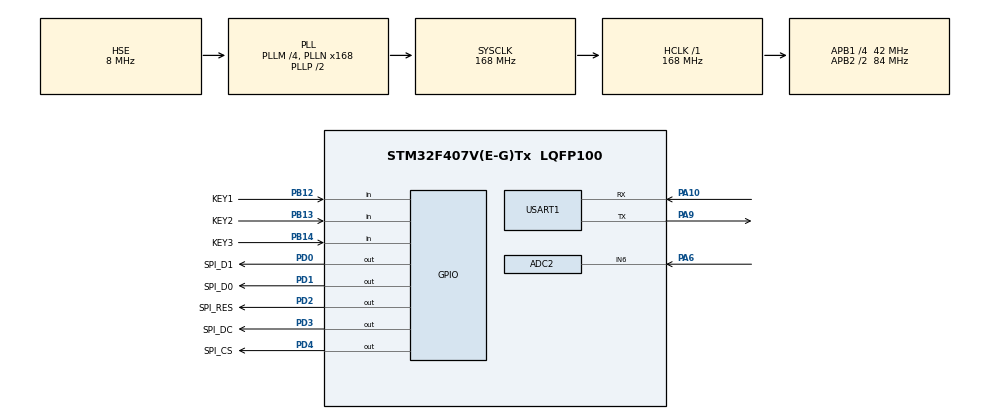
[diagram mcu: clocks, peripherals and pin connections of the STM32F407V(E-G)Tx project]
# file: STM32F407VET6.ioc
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ADC2.Channel-0\#ChannelRegularConversion=ADC_CHANNEL_6
ADC2.ContinuousConvMode=ENABLE
ADC2.DMAContinuousRequests=ENABLE
ADC2.NbrOfConversionFlag=1
ADC2.Rank-0\#ChannelRegularConversion=1
ADC2.SamplingTime-0\#ChannelRegularConversion=ADC_SAMPLETIME_3CYCLES
ADC2.ScanConvMode=ENABLE
Dma.ADC2.0.Direction=DMA_PERIPH_TO_MEMORY
Dma.ADC2.0.FIFOMode=DMA_FIFOMODE_DISABLE
Dma.ADC2.0.Instance=DMA2_Stream2
Dma.ADC2.0.MemDataAlignment=DMA_MDATAALIGN_WORD
Dma.ADC2.0.MemInc=DMA_MINC_ENABLE
Dma.ADC2.0.Mode=DMA_CIRCULAR
Dma.ADC2.0.PeriphDataAlignment=DMA_PDATAALIGN_WORD
Dma.ADC2.0.PeriphInc=DMA_PINC_DISABLE
Dma.ADC2.0.Priority=DMA_PRIORITY_LOW
Dma.Request0=ADC2
Mcu.Family=STM32F4
Mcu.Name=STM32F407V(E-G)Tx
Mcu.Package=LQFP100
NVIC.DMA2_Stream2_IRQn=true\:0\:0\:false\:false\:true\:false\:true
NVIC.PriorityGroup=NVIC_PRIORITYGROUP_4
PA10.Mode=Asynchronous
PA10.Signal=USART1_RX
PA13.Mode=Serial_Wire
PA13.Signal=SYS_JTMS-SWDIO
PA14.Mode=Serial_Wire
PA14.Signal=SYS_JTCK-SWCLK
PA6.Signal=ADCx_IN6
PA9.Mode=Asynchronous
PA9.Signal=USART1_TX
PB12.GPIO_Label=KEY1
PB12.GPIO_Mode=GPIO_MODE_INPUT
PB12.GPIO_PuPd=GPIO_PULLUP
PB12.Signal=GPIO_Input
PB13.GPIO_Label=KEY2
PB13.GPIO_PuPd=GPIO_PULLUP
PB13.Signal=GPIO_Input
PB14.GPIO_Label=KEY3
PB14.GPIO_PuPd=GPIO_PULLUP
PB14.Signal=GPIO_Input
PD0.GPIO_Label=SPI_D1
PD0.Signal=GPIO_Output
PD1.GPIO_Label=SPI_D0
PD1.Signal=GPIO_Output
PD2.GPIO_Label=SPI_RES
PD2.Signal=GPIO_Output
PD3.GPIO_Label=SPI_DC
PD3.Signal=GPIO_Output
PD4.GPIO_Label=SPI_CS
PD4.Signal=GPIO_Output
PH0-OSC_IN.Mode=HSE-External-Oscillator
PH0-OSC_IN.Signal=RCC_OSC_IN
PH1-OSC_OUT.Mode=HSE-External-Oscillator
PH1-OSC_OUT.Signal=RCC_OSC_OUT
ProjectManager.HeapSize=0x200
ProjectManager.StackSize=0x400
ProjectManager.TargetToolchain=MDK-ARM V5.27
RCC.48MHZClocksFreq_Value=84000000
RCC.AHBFreq_Value=168000000
RCC.APB1CLKDivider=RCC_HCLK_DIV4
RCC.APB1Freq_Value=42000000
RCC.APB1TimFreq_Value=84000000
RCC.APB2CLKDivider=RCC_HCLK_DIV2
RCC.APB2Freq_Value=84000000
RCC.APB2TimFreq_Value=168000000
RCC.CortexFreq_Value=168000000
RCC.HCLKFreq_Value=168000000
RCC.HSE_VALUE=8000000
RCC.HSI_VALUE=16000000
RCC.LSE_VALUE=32768
RCC.PLLM=4
RCC.PLLN=168
RCC.PLLSourceVirtual=RCC_PLLSOURCE_HSE
RCC.SYSCLKFreq_VALUE=168000000
RCC.SYSCLKSource=RCC_SYSCLKSOURCE_PLLCLK
RCC.VCOOutputFreq_Value=336000000
SH.ADCx_IN6.0=ADC2_IN6,IN6
USART1.VirtualMode=VM_ASYNC
board=custom

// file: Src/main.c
/* USER CODE BEGIN Header */
/**
  ******************************************************************************
  * @file           : main.c
  * @brief          : Main program body
  ******************************************************************************
  * @attention
  *
  * <h2><center>&copy; Copyright (c) 2020 STMicroelectronics.
  * All rights reserved.</center></h2>
  *
  * This software component is licensed by ST under BSD 3-Clause license,
  * the "License"; You may not use this file except in compliance with the
  * License. You may obtain a copy of the License at:
  *                        opensource.org/licenses/BSD-3-Clause
  *
  ******************************************************************************
  */
/* USER CODE END Header */

#include "main.h"
#include "adc.h"
#include "dma.h"
#include "usart.h"
#include "gpio.h"

/* USER CODE BEGIN Includes */
#include "stdio.h"
#include "oled.h"
/* USER CODE END Includes */

/* USER CODE BEGIN PV */
uint32_t ADC_Value[100];
uint8_t i;
uint32_t ad1;

/* USER CODE END PV */

void SystemClock_Config(void);

int main(void)
{

  /* MCU Configuration--------------------------------------------------------*/

  /* Reset of all peripherals, Initializes the Flash interface and the Systick. */
  HAL_Init();

  /* Configure the system clock */
  SystemClock_Config();

  /* Initialize all configured peripherals */
  MX_GPIO_Init();
  MX_DMA_Init();
  MX_ADC2_Init();
  MX_USART1_UART_Init();
  /* USER CODE BEGIN 2 */
	HAL_ADC_Start_DMA(&hadc2, (uint32_t*)&ADC_Value, 100);

	OLED_Init();
	OLED_Display_On();
	uint8_t tishi_buffer[20];
	uint8_t ADC_buffer[20];
  /* USER CODE END 2 */

  /* Infinite loop */
  while (1)
  {

    /* USER CODE BEGIN 3 */
		HAL_Delay(500);
		for(i=0,ad1=0;i<100;i++)
		{
			ad1+=ADC_Value[i++];
		}
		ad1/=100;
		sprintf(tishi_buffer,"ADC result:");
		OLED_ShowString(4,0, tishi_buffer);
		sprintf(ADC_buffer,"%1.3fV ", ad1*3.3f/4096);
		OLED_ShowString(8,2, ADC_buffer);
  }
  /* USER CODE END 3 */
}

void SystemClock_Config(void)
{
  RCC_OscInitTypeDef RCC_OscInitStruct = {0};
  RCC_ClkInitTypeDef RCC_ClkInitStruct = {0};

  /** Configure the main internal regulator output voltage
  */
  __HAL_RCC_PWR_CLK_ENABLE();
  __HAL_PWR_VOLTAGESCALING_CONFIG(PWR_REGULATOR_VOLTAGE_SCALE1);
  /** Initializes the CPU, AHB and APB busses clocks
  */
  RCC_OscInitStruct.OscillatorType = RCC_OSCILLATORTYPE_HSE;
  RCC_OscInitStruct.HSEState = RCC_HSE_ON;
  RCC_OscInitStruct.PLL.PLLState = RCC_PLL_ON;
  RCC_OscInitStruct.PLL.PLLSource = RCC_PLLSOURCE_HSE;
  RCC_OscInitStruct.PLL.PLLM = 4;
  RCC_OscInitStruct.PLL.PLLN = 168;
  RCC_OscInitStruct.PLL.PLLP = RCC_PLLP_DIV2;
  RCC_OscInitStruct.PLL.PLLQ = 4;
  if (HAL_RCC_OscConfig(&RCC_OscInitStruct) != HAL_OK)
  {
    Error_Handler();
  }
  /** Initializes the CPU, AHB and APB busses clocks
  */
  RCC_ClkInitStruct.ClockType = RCC_CLOCKTYPE_HCLK|RCC_CLOCKTYPE_SYSCLK
                              |RCC_CLOCKTYPE_PCLK1|RCC_CLOCKTYPE_PCLK2;
  RCC_ClkInitStruct.SYSCLKSource = RCC_SYSCLKSOURCE_PLLCLK;
  RCC_ClkInitStruct.AHBCLKDivider = RCC_SYSCLK_DIV1;
  RCC_ClkInitStruct.APB1CLKDivider = RCC_HCLK_DIV4;
  RCC_ClkInitStruct.APB2CLKDivider = RCC_HCLK_DIV2;

  if (HAL_RCC_ClockConfig(&RCC_ClkInitStruct, FLASH_LATENCY_5) != HAL_OK)
  {
    Error_Handler();
  }
}

void Error_Handler(void)
{
}

/************************ (C) COPYRIGHT STMicroelectronics *****END OF FILE****/
